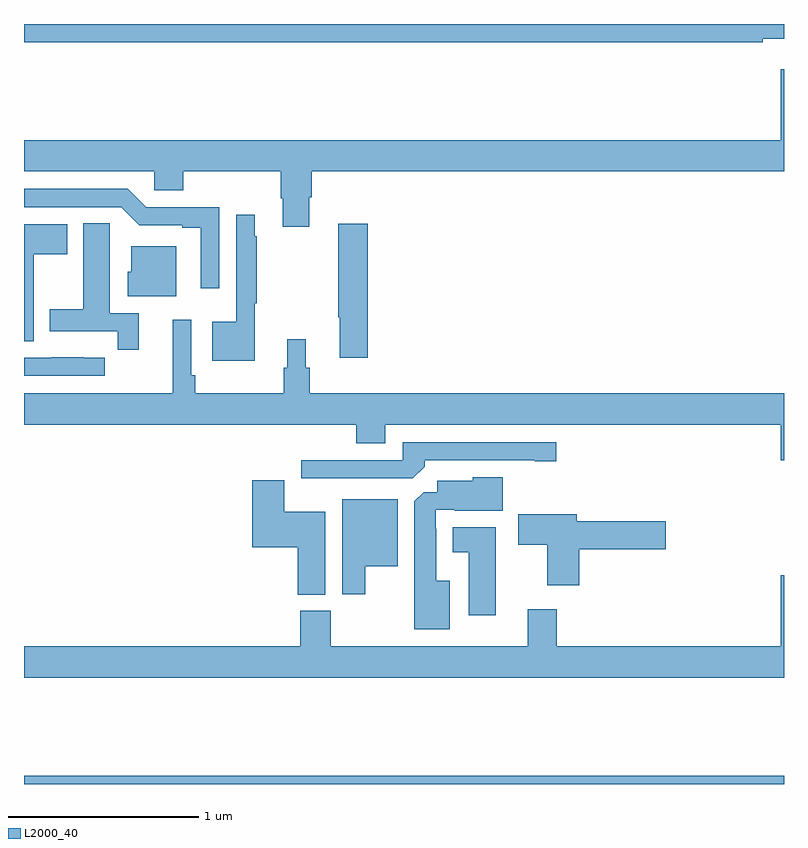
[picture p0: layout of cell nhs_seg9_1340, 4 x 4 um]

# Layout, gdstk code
import gdstk
lib = gdstk.Library(unit=1e-6, precision=1e-09)
def R(c, l, rs):  # rectangles x0, y0, x1, y1
    for r in rs: c.add(gdstk.rectangle(r[:2], r[2:], *l))
def P(c, l, *ps):  # polygons
    for p in ps: c.add(gdstk.Polygon(p, *l))
L2000_40 = (2000, 40)

nhs_seg9_1340 = lib.new_cell('nhs_seg9_1340')
R(nhs_seg9_1340, L2000_40, [(185,1222.5,189,1222.544)])
P(nhs_seg9_1340, L2000_40, [(188.888,1226.423),(189,1226.423),(189,1226.5),(185,1226.5),(185,1226.404),(188.888,1226.404)],
  [(186.502,1225.587),(186.515,1225.587),(186.515,1225.724),(189,1225.724),(189,1226.263),(188.984,1226.263),(188.984,1225.888),(185,1225.888),(185,1225.724),(185.685,1225.724),(185.685,1225.626),(185.837,1225.626),(185.837,1225.724),(186.35,1225.724),(186.35,1225.582),(186.362,1225.582),(186.362,1225.434),(186.502,1225.434)],
  [(186.027,1225.536),(185.643,1225.536),(185.547,1225.632),(185,1225.632),(185,1225.536),(185.511,1225.536),(185.607,1225.44),(185.834,1225.44),(185.834,1225.428),(185.93,1225.428),(185.93,1225.11),(186.027,1225.11)],
  [(186.214,1225.03),(186.226,1225.03),(186.226,1225.382),(186.214,1225.382),(186.214,1225.495),(186.117,1225.495),(186.117,1224.934),(185.99,1224.934),(185.99,1224.728),(186.214,1224.728)],
  [(185.603,1224.978),(185.452,1224.978),(185.452,1225.34),(185.451,1225.34),(185.451,1225.451),(185.312,1225.451),(185.312,1224.999),(185.135,1224.999),(185.135,1224.882),(185.494,1224.882),(185.494,1224.786),(185.603,1224.786)],
  [(186.809,1225.45),(186.655,1225.45),(186.655,1224.956),(186.662,1224.956),(186.662,1224.744),(186.809,1224.744)],
  [(185.05,1225.288),(185.227,1225.288),(185.227,1225.447),(185,1225.447),(185,1224.829),(185.05,1224.829)],
  [(185.8,1225.33),(185.564,1225.33),(185.564,1225.197),(185.546,1225.197),(185.546,1225.067),(185.8,1225.067)],
  [(189,1224.556),(186.503,1224.556),(186.503,1224.69),(186.484,1224.69),(186.484,1224.841),(186.386,1224.841),(186.386,1224.69),(186.367,1224.69),(186.367,1224.556),(185.9,1224.556),(185.9,1224.652),(185.88,1224.652),(185.88,1224.943),(185.783,1224.943),(185.783,1224.556),(185,1224.556),(185,1224.392),(186.749,1224.392),(186.749,1224.293),(186.901,1224.293),(186.901,1224.392),(188.984,1224.392),(188.984,1224.204),(189,1224.204)],
  [(185.425,1224.744),(185.312,1224.744),(185.312,1224.745),(185.146,1224.745),(185.146,1224.744),(185,1224.744),(185,1224.648),(185.425,1224.648)],
  [(187.109,1224.17),(187.109,1224.204),(187.688,1224.204),(187.688,1224.199),(187.801,1224.199),(187.801,1224.3),(186.993,1224.3),(186.993,1224.204),(186.459,1224.204),(186.459,1224.108),(187.047,1224.108)],
  [(187.24,1223.569),(187.171,1223.569),(187.171,1223.843),(187.167,1223.843),(187.167,1223.943),(187.267,1223.943),(187.267,1223.939),(187.519,1223.939),(187.519,1224.115),(187.362,1224.115),(187.362,1224.097),(187.175,1224.097),(187.175,1224.036),(187.104,1224.036),(187.055,1223.987),(187.055,1223.315),(187.24,1223.315)],
  [(186.586,1223.932),(186.37,1223.932),(186.37,1224.1),(186.2,1224.1),(186.2,1223.747),(186.44,1223.747),(186.44,1223.497),(186.586,1223.497)],
  [(186.796,1223.645),(186.967,1223.645),(186.967,1223.998),(186.674,1223.998),(186.674,1223.499),(186.796,1223.499)],
  [(187.922,1223.735),(188.377,1223.735),(188.377,1223.882),(187.909,1223.882),(187.909,1223.92),(187.602,1223.92),(187.602,1223.758),(187.754,1223.758),(187.754,1223.547),(187.922,1223.547)],
  [(187.483,1223.851),(187.256,1223.851),(187.256,1223.72),(187.34,1223.72),(187.34,1223.388),(187.483,1223.388)],
  [(189,1223.599),(188.984,1223.599),(188.984,1223.224),(187.805,1223.224),(187.805,1223.419),(187.652,1223.419),(187.652,1223.224),(186.615,1223.224),(186.615,1223.412),(186.455,1223.412),(186.455,1223.224),(185,1223.224),(185,1223.06),(189,1223.06)])

lib.write_gds('nhs_seg9_1340.gds')
